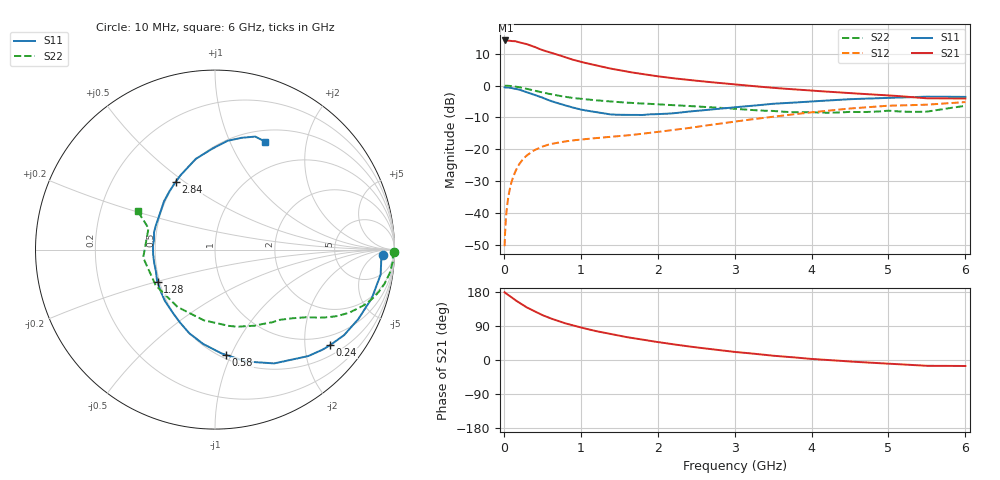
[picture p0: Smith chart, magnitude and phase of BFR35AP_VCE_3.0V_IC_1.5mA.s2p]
! Infineon Technologies  Discrete & RF Semiconductors
! BFR35AP
! VCE =  3.0 V,  IC =  1.5 mA
! Common Emitter S-Parameters:  Nov 2015
# GHz  S  MA  R  50
!  f  S11  S21  S12  S22
! GHz  MAG  ANG  MAG  ANG  MAG  ANG  MAG  ANG
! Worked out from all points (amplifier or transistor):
!   210 points, 10 MHz to 6 GHz, reference 50 ohm
!   highest |S21| = 14.2 dB at 20 MHz (marker M1)
!   |S21| within 3 dB of that: start of sweep to 498.1 MHz
!   unconditionally stable (mu >= 1): 1.287 GHz to 4.174 GHz; 5.13 GHz to end of sweep
!   at 185 MHz: K = 0.18, MSG = 19.5 dB, |S12| = -25.3 dB
!   at 1.52 GHz: K = 1.11, MAG = 8.3 dB, |S12| = -15.9 dB
!   at 6 GHz: K = 1.01, MAG = -0.2 dB, |S12| = -5.2 dB
!   S11 on the Smith chart (normalised r, x): 10 MHz: 25, -11; 240 MHz: 0.74, -2.58; 580 MHz: 0.53, -0.96; 1.28 GHz: 0.49, -0.21; 2.84 GHz: 0.50, +0.46; 6 GHz: 0.64, +1.37
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0.01  0.9357 -1.7  5.033 178.9  0.003 89.3  0.9999 -0.7
0.02  0.9281 -3.4  5.101 176.9  0.006 88.4  0.9914 -1.6
0.045  0.9319 -7.7  5.094 173.5  0.0137 85.0  0.9923 -3.5
0.095  0.9155 -16.3  5.008 166.5  0.0291 80.2  0.983 -7.3
0.15  0.8873 -25.9  4.968 157.7  0.0447 74.8  0.9629 -11.5
0.24  0.8332 -39.8  4.638 146.2  0.0675 66.4  0.9201 -17.1
0.3  0.7885 -48.8  4.46 138.5  0.0801 62.3  0.8868 -20.4
0.4  0.7148 -62.5  4.039 128.5  0.0969 55.6  0.8287 -25.0
0.5  0.6471 -74.5  3.604 118.6  0.1097 50.5  0.7793 -28.3
0.58  0.5903 -83.9  3.367 112.1  0.1178 47.6  0.7438 -30.3
0.7  0.53 -97.1  3.048 103.1  0.1266 44.2  0.6964 -33.0
0.8  0.4879 -107.0  2.779 96.7  0.1326 42.0  0.6638 -34.7
1.02  0.4154 -126.6  2.323 84.9  0.1426 39.5  0.6153 -38.0
1.28  0.3678 -150.3  1.967 73.0  0.1526 38.7  0.5753 -41.6
1.6  0.3458 -176.0  1.655 60.3  0.1646 40.0  0.5383 -46.4
2.02  0.3559 157.6  1.387 46.7  0.188 42.2  0.5059 -53.8
2.84  0.4362 120.1  1.086 25.2  0.2547 43.5  0.4451 -74.5
3.1  0.4662 112.1  1.016 19.5  0.2816 42.2  0.4217 -83.3
4.1  0.5711 89.8  0.817 1.5  0.3902 33.0  0.3765 -128.2
5.1  0.6453 75.3  0.687 -10.8  0.4849 18.3  0.3944 -178.2
5.5  0.6684 70.4  0.63 -15.3  0.5005 11.5  0.3891 162.2
6  0.6633 65.1  0.625 -15.8  0.5495 7.0  0.4801 153.6
